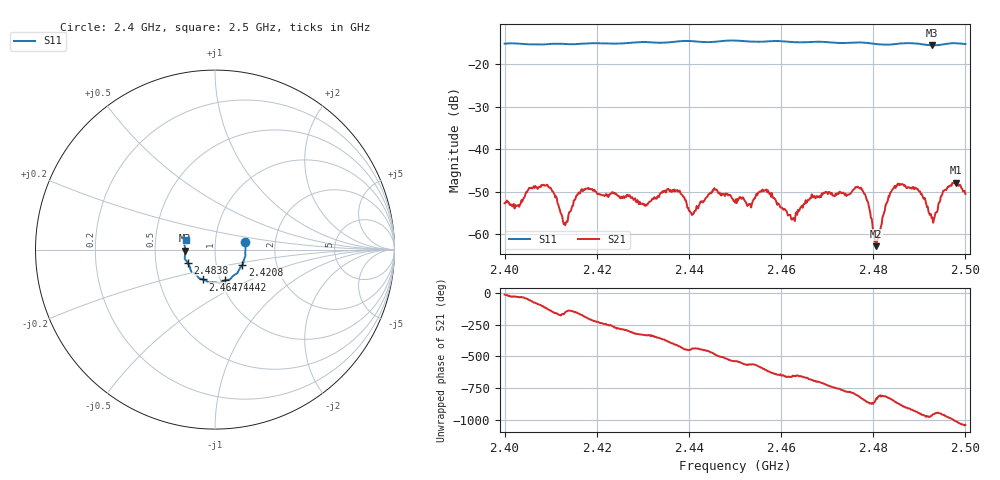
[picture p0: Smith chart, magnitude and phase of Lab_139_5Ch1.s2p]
# Hz S RI R 50
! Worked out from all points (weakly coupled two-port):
!   601 points, 2.4 GHz to 2.5 GHz, reference 50 ohm
!   highest |S21| = -47.87 dB at 2.498 GHz (marker M1); lowest = -62.8 dB at 2.4807 GHz (marker M2)
!   lowest |S11| = -15.6 dB at 2.4928 GHz (marker M3), VSWR 1.40, Z = 35.8 - j0.385 ohm
!   |S11| at or under -10 dB: start of sweep to end of sweep
!   S12 and S22 are empty: the file has one direction only
!   S11 on the Smith chart (normalised r, x): 2.4 GHz: 1.40, +0.12; 2.4208 GHz: 1.33, -0.24; 2.4442 GHz: 1.05, -0.37; 2.4647 GHz: 0.83, -0.29; 2.4838 GHz: 0.73, -0.11; 2.5 GHz: 0.72, +0.08
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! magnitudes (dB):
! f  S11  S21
! 2.4 GHz  -15.2  -52.7
! 2.409 GHz  -15.4  -48.6
! 2.4132 GHz  -15.3  -57.9
! 2.4167 GHz  -15.3  -49.5
! 2.4208 GHz  -15.1  -50.7
! 2.4333 GHz  -15.0  -51.0
! 2.4377 GHz  -14.7  -50.0
! 2.4407 GHz  -14.6  -55.5
! 2.4442 GHz  -14.9  -50.7
! 2.45 GHz  -14.5  -52.6
! 2.4568 GHz  -14.7  -49.5
! 2.4625 GHz  -14.8  -56.3
! 2.4647 GHz  -14.9  -53.8
! 2.4667 GHz  -14.8  -50.6
! 2.4772 GHz  -14.9  -49.3
! 2.4807 GHz  -15.3  -62.8
! 2.4833 GHz  -15.5  -51.1
! 2.4838 GHz  -15.4  -50.1
! 2.4895 GHz  -15.2  -49.3
! 2.4928 GHz  -15.6  -56.1
! 2.498 GHz  -15.1  -47.9
! 2.5 GHz  -15.3  -50.5
